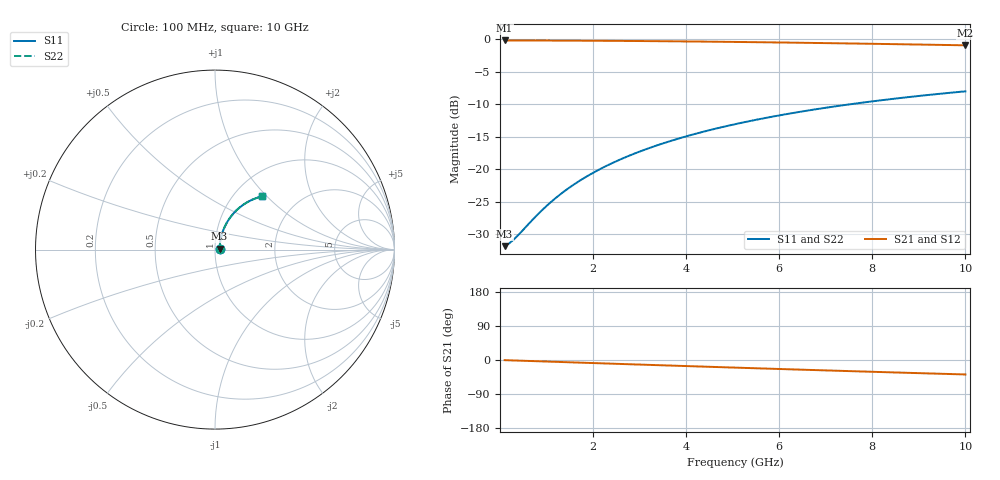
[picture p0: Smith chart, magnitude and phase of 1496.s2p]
# Hz S RI R 50.00
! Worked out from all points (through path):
!   100 points, 100 MHz to 10 GHz, reference 50 ohm
!   highest |S21| = -0.22 dB at 100 MHz (marker M1); lowest = -1.0 dB at 10 GHz (marker M2)
!   group delay of S21, straight-line fit = 10.6 ps
!   lowest |S11| = -31.9 dB at 100 MHz (marker M3), VSWR 1.05, Z = 52.6 + j0.457 ohm
!   |S11| at or under -10 dB: start of sweep to 7.56 GHz
!   |S22| runs from -31.9 to -8.0 dB; largest |S21 - S12| = 0
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1e8  0.0252 0.00435  0.9748 -0.00688  0.9748 -0.00688  0.0252 0.00435
2e8  0.0254 0.00869  0.9746 -0.0138  0.9746 -0.0138  0.0254 0.00869
3e8  0.0257 0.013  0.9743 -0.0206  0.9743 -0.0206  0.0257 0.013
4e8  0.026 0.0174  0.9739 -0.0275  0.9739 -0.0275  0.026 0.0174
8e8  0.0278 0.0346  0.972 -0.0549  0.972 -0.0549  0.0278 0.0346
1.1e9  0.0296 0.0475  0.9699 -0.0754  0.9699 -0.0754  0.0296 0.0475
1.4e9  0.0321 0.0602  0.9673 -0.0957  0.9673 -0.0957  0.0321 0.0602
1.6e9  0.0339 0.0686  0.9652 -0.1092  0.9652 -0.1092  0.0339 0.0686
1.8e9  0.0361 0.077  0.9628 -0.1226  0.9628 -0.1226  0.0361 0.077
2.1e9  0.0397 0.0894  0.9588 -0.1426  0.9588 -0.1426  0.0397 0.0894
2.5e9  0.0453 0.1056  0.9527 -0.169  0.9527 -0.169  0.0453 0.1056
2.9e9  0.0517 0.1214  0.9455 -0.195  0.9455 -0.195  0.0517 0.1214
3.4e9  0.0609 0.1406  0.9352 -0.2269  0.9352 -0.2269  0.0609 0.1406
3.8e9  0.0692 0.1553  0.926 -0.2518  0.926 -0.2518  0.0692 0.1553
4.2e9  0.0782 0.1695  0.9159 -0.2762  0.9159 -0.2762  0.0782 0.1695
4.6e9  0.0879 0.1831  0.905 -0.3  0.905 -0.3  0.0879 0.1831
5.1e9  0.101 0.1992  0.8904 -0.3288  0.8904 -0.3288  0.101 0.1992
5.9e9  0.1238 0.2227  0.8646 -0.3728  0.8646 -0.3728  0.1238 0.2227
6.7e9  0.1485 0.2433  0.8365 -0.414  0.8365 -0.414  0.1485 0.2433
7.5e9  0.1748 0.261  0.8064 -0.4523  0.8064 -0.4523  0.1748 0.261
8.4e9  0.2057 0.2771  0.7705 -0.4917  0.7705 -0.4917  0.2057 0.2771
1e10  0.2627 0.2964  0.7034 -0.5526  0.7034 -0.5526  0.2627 0.2964
